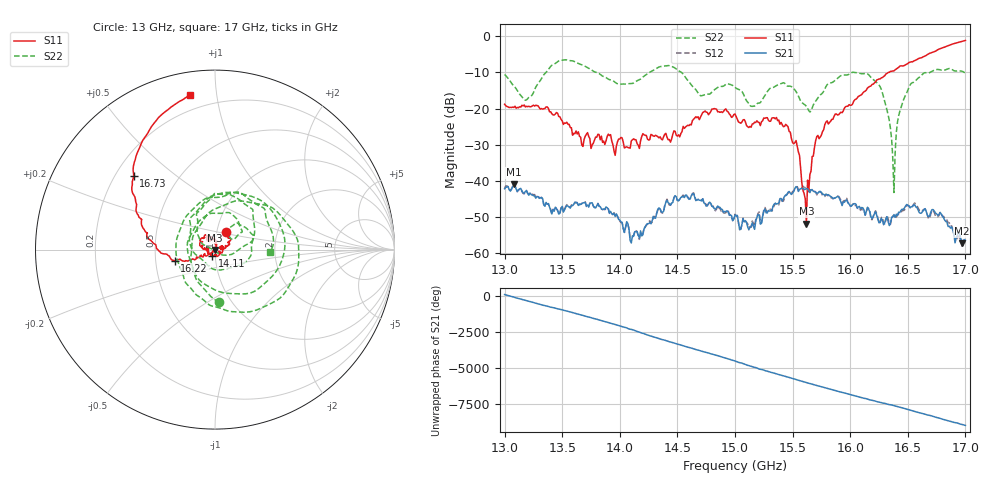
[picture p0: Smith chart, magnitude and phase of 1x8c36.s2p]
!Keysight Technologies,P9374A,MY57211807,A.19.30.04
!Date: Friday, May 08, 2026 15:10:47
!Correction: S11(C  2-Port  )
!S21(C  2-Port  )
!S12(C  2-Port  )
!S22(C  2-Port  )
!S2P File: Measurements: S11, S21, S12, S22:
# Hz S  dB  R 50
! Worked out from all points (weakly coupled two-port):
!   401 points, 13 GHz to 17 GHz, reference 50 ohm
!   highest |S21| = -40.97 dB at 13.08 GHz (marker M1); lowest = -57.2 dB at 16.97 GHz (marker M2)
!   lowest |S11| = -51.8 dB at 15.62 GHz (marker M3), VSWR 1.01, Z = 49.9 - j0.243 ohm
!   |S11| at or under -10 dB: start of sweep to 16.34 GHz
!   |S22| runs from -43.2 to -6.5 dB; largest |S21 - S12| = 0.00077
!   S11 on the Smith chart (normalised r, x): 13 GHz: 1.11, +0.22; 14.11 GHz: 0.97, -0.06; 16.22 GHz: 0.63, -0.08; 16.73 GHz: 0.27, +0.36; 17 GHz: 0.12, +0.85
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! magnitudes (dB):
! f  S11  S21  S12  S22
! 13 GHz  -18.8  -42.2  -41.9  -10.6
! 13.08 GHz  -19.7  -41.0  -40.8  -13.7
! 13.19 GHz  -19.4  -42.6  -42.8  -17.6
! 13.46 GHz  -21.3  -48.1  -48.2  -7.0
! 13.67 GHz  -30.1  -46.3  -46.3  -7.9
! 14.11 GHz  -28.7  -55.2  -55.5  -13.0
! 14.34 GHz  -28.1  -47.5  -47.5  -8.5
! 14.63 GHz  -23.4  -43.5  -43.6  -13.8
! 15 GHz  -21.5  -49.4  -49.2  -14.1
! 15.16 GHz  -24.2  -52.6  -51.8  -19.4
! 15.46 GHz  -25.0  -43.2  -43.4  -13.8
! 15.62 GHz  -51.8  -42.2  -42.0  -19.4
! 15.67 GHz  -33.2  -42.5  -42.4  -19.9
! 15.92 GHz  -21.0  -45.9  -45.3  -10.9
! 16.22 GHz  -12.7  -48.5  -48.3  -12.5
! 16.34 GHz  -10.0  -52.3  -52.0  -23.4
! 16.38 GHz  -9.6  -49.4  -49.3  -43.2
! 16.43 GHz  -8.3  -48.8  -49.1  -20.9
! 16.5 GHz  -7.6  -46.7  -46.8  -14.9
! 16.73 GHz  -4.3  -48.3  -48.7  -9.4
! 16.97 GHz  -1.4  -57.2  -58.0  -9.7
! 17 GHz  -1.2  -56.4  -57.1  -10.3
